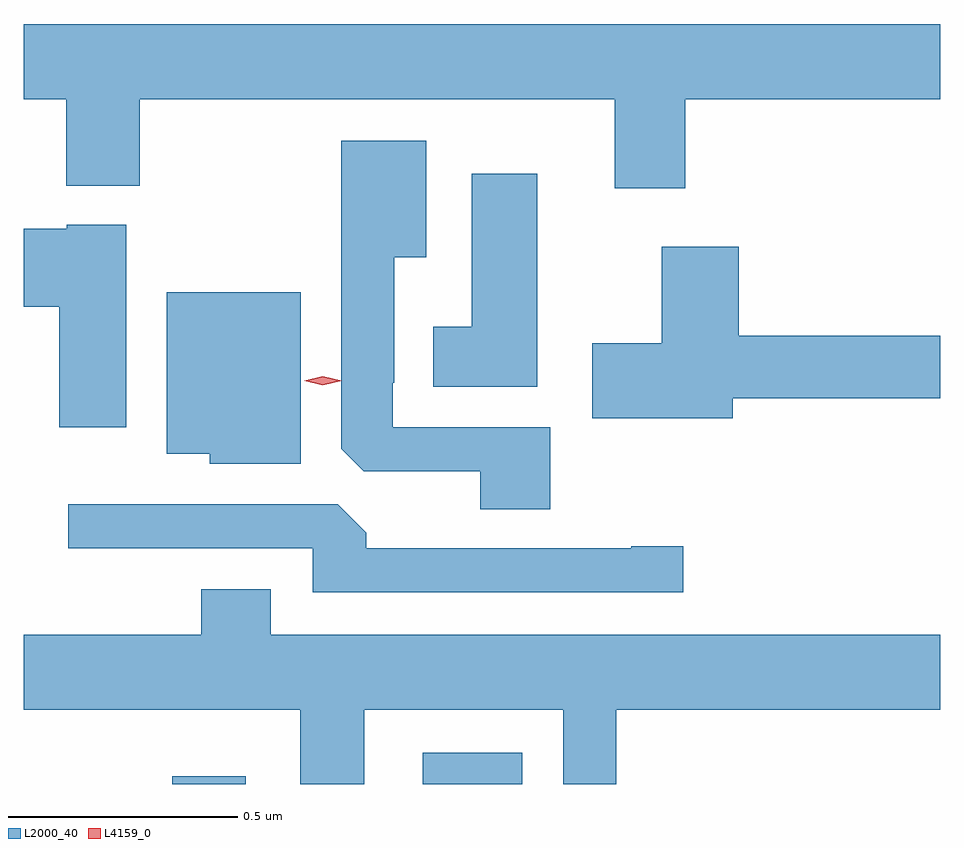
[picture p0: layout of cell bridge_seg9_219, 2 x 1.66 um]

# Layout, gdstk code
import gdstk
lib = gdstk.Library(unit=1e-6, precision=1e-09)
def R(c, l, rs):  # rectangles x0, y0, x1, y1
    for r in rs: c.add(gdstk.rectangle(r[:2], r[2:], *l))
def P(c, l, *ps):  # polygons
    for p in ps: c.add(gdstk.Polygon(p, *l))
L2000_40 = (2000, 40)
L4159_0 = (4159, 0)

bridge_seg9_219 = lib.new_cell('bridge_seg9_219')
R(bridge_seg9_219, L2000_40, [(191.792,1226.894,191.953,1226.911), (192.339,1226.894,192.556,1226.962)])
P(bridge_seg9_219, L2000_40, [(192.911,1228.388),(193.468,1228.388),(193.468,1228.552),(191.468,1228.552),(191.468,1228.388),(191.561,1228.388),(191.561,1228.199),(191.721,1228.199),(191.721,1228.388),(192.758,1228.388),(192.758,1228.194),(192.911,1228.194)],
  [(192.617,1227.672),(192.273,1227.672),(192.273,1227.769),(192.277,1227.769),(192.277,1228.043),(192.346,1228.043),(192.346,1228.297),(192.161,1228.297),(192.161,1227.625),(192.21,1227.576),(192.464,1227.576),(192.464,1227.493),(192.617,1227.493)],
  [(192.589,1228.225),(192.446,1228.225),(192.446,1227.892),(192.362,1227.892),(192.362,1227.761),(192.589,1227.761)],
  [(191.692,1228.114),(191.562,1228.114),(191.562,1228.105),(191.468,1228.105),(191.468,1227.935),(191.546,1227.935),(191.546,1227.672),(191.692,1227.672)],
  [(193.015,1227.736),(193.468,1227.736),(193.468,1227.872),(193.028,1227.872),(193.028,1228.066),(192.86,1228.066),(192.86,1227.855),(192.708,1227.855),(192.708,1227.692),(193.015,1227.692)],
  [(192.073,1227.967),(191.78,1227.967),(191.78,1227.614),(191.874,1227.614),(191.874,1227.593),(192.073,1227.593)],
  [(192.907,1227.413),(192.794,1227.413),(192.794,1227.408),(192.215,1227.408),(192.215,1227.442),(192.153,1227.504),(191.565,1227.504),(191.565,1227.408),(192.099,1227.408),(192.099,1227.312),(192.907,1227.312)],
  [(192.211,1227.056),(192.645,1227.056),(192.645,1226.894),(192.761,1226.894),(192.761,1227.056),(193.468,1227.056),(193.468,1227.22),(192.007,1227.22),(192.007,1227.319),(191.855,1227.319),(191.855,1227.22),(191.468,1227.22),(191.468,1227.056),(192.071,1227.056),(192.071,1226.894),(192.211,1226.894)])
P(bridge_seg9_219, L4159_0, [(192.121,1227.764),(192.08,1227.774),(192.08,1227.774),(192.08,1227.774),(192.121,1227.784),(192.162,1227.774),(192.162,1227.774),(192.162,1227.774)])

lib.write_gds('bridge_seg9_219.gds')
